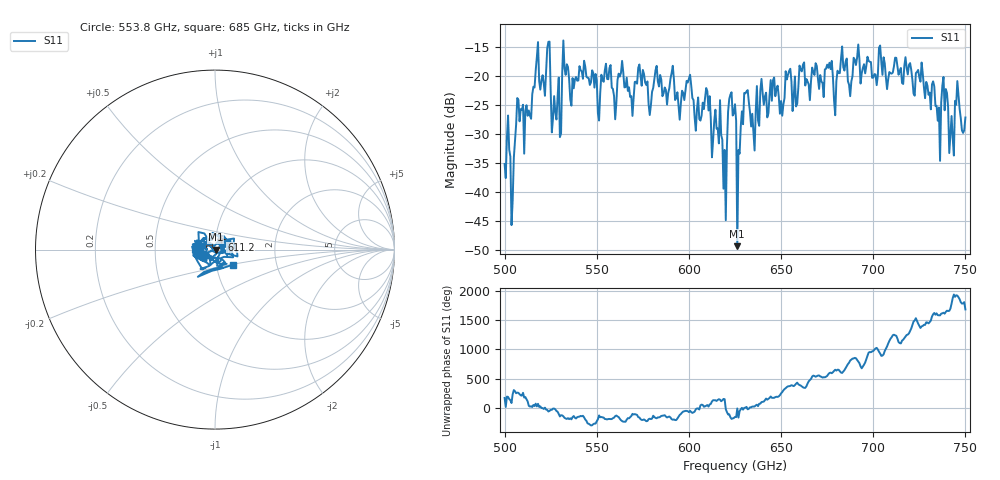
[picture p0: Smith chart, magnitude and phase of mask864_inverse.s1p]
!Created with skrf (http://scikit-rf.org).
# GHz S MA R 50.0
!freq magS11 angS11
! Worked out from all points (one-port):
!   401 points, 500 GHz to 750 GHz, reference 50 ohm
!   lowest |S11| = -49.3 dB at 626.2 GHz (marker M1), VSWR 1.01, Z = 50.3 - j0.061 ohm
!   |S11| at or under -10 dB: start of sweep to end of sweep
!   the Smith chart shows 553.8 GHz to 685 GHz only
!   S11 on the Smith chart (normalised r, x): 553.8 GHz: 0.84, -0.03; 611.2 GHz: 1.07, +0.12; 685 GHz: 1.21, -0.20
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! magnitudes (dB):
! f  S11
! 500 GHz  -35.2
! 504.4 GHz  -41.5
! 507.5 GHz  -24.1
! 513.8 GHz  -26.8
! 516.9 GHz  -19.0
! 523.8 GHz  -14.1
! 526.9 GHz  -23.5
! 531.2 GHz  -19.5
! 553.8 GHz  -21.0
! 562.5 GHz  -20.1
! 593.8 GHz  -22.8
! 600 GHz  -20.5
! 611.2 GHz  -23.5
! 619.4 GHz  -32.7
! 622.5 GHz  -23.2
! 625 GHz  -24.9
! 626.2 GHz  -49.3
! 631.2 GHz  -22.7
! 635 GHz  -29.8
! 656.2 GHz  -26.0
! 685 GHz  -17.6
! 687.5 GHz  -23.5
! 718.8 GHz  -19.7
! 735 GHz  -27.7
! 738.8 GHz  -25.9
! 742.5 GHz  -26.9
! 745.6 GHz  -20.9
! 750 GHz  -27.2
